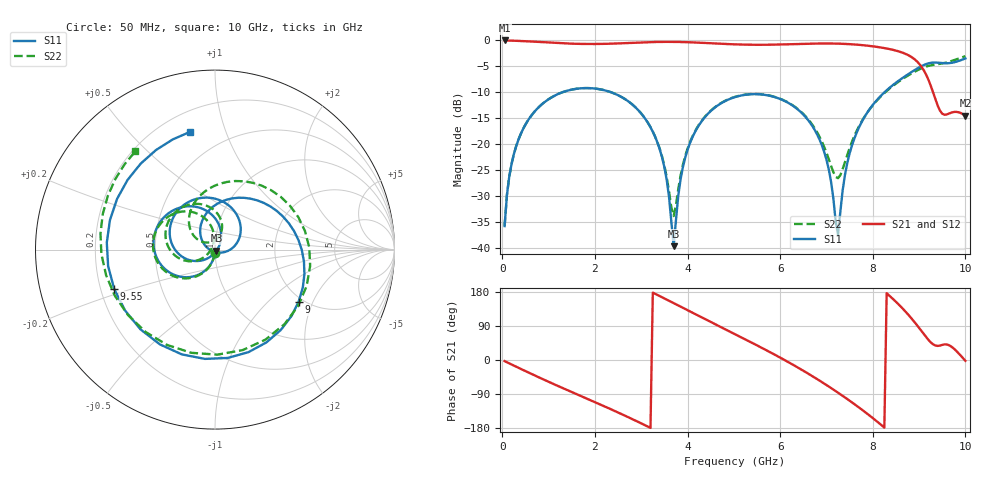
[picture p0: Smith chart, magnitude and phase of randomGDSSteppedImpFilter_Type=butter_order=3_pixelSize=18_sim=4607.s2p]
! freq	dB(S11)	phase(S11)	dB(S12)	phase(S12)
!  dB(S21)	phase(S21)	dB(S22)	phase(S22)
!S-par simulation data
#  GHz  S  DB  R 50
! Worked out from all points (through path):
!   200 points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, 50 MHz to 10 GHz, reference 50 ohm
!   highest |S21| = 0.00 dB at 50 MHz (marker M1); lowest = -14.5 dB at 10 GHz (marker M2)
!   lowest |S11| = -39.7 dB at 3.7 GHz (marker M3), VSWR 1.02, Z = 50.8 - j0.649 ohm
!   |S11| at or under -10 dB: start of sweep to 1.295 GHz; 2.352 GHz to 8.252 GHz (5.9 GHz wide, 111 % of centre)
!   |S22| runs from -35.8 to -3.0 dB; largest |S21 - S12| = 0
!   S11 on the Smith chart (normalised r, x): 50 MHz: 1.00, -0.03; 9 GHz: 1.89, -1.57; 9.55 GHz: 0.26, -0.18; 10 GHz: 0.32, +0.76
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0.05  -35.80 -92.9  -0.00 -3.0  -0.00 -3.0  -35.80 -92.7
0.2  -23.82 -102.3  -0.04 -11.9  -0.04 -11.9  -23.82 -101.7
0.5  -16.22 -120.6  -0.15 -29.3  -0.15 -29.3  -16.22 -119.2
1.75  -9.20 168.8  -0.68 -97.9  -0.68 -97.9  -9.20 174.5
2.75  -11.94 111.6  -0.48 -152.6  -0.48 -152.6  -11.93 123.4
3.4  -20.99 67.3  -0.28 168.7  -0.28 168.7  -20.89 94.9
3.7  -39.67 -37.9  -0.28 150.1  -0.28 150.1  -33.86 157.8
3.85  -26.76 -122.3  -0.30 140.7  -0.30 140.7  -26.06 -148.3
4.1  -18.78 -146.4  -0.37 125.1  -0.37 125.1  -18.62 -148.9
5.05  -10.85 148.4  -0.76 66.5  -0.76 66.5  -10.81 163.3
5.95  -11.12 85.7  -0.79 9.7  -0.79 9.7  -11.07 114.2
6.7  -16.57 24.8  -0.61 -43.0  -0.61 -43.0  -16.32 75.7
7.05  -24.86 -13.2  -0.59 -70.0  -0.59 -70.0  -22.89 74.6
7.25  -37.44 -120.9  -0.62 -86.2  -0.62 -86.2  -26.56 113.5
7.4  -25.89 162.6  -0.67 -98.8  -0.67 -98.8  -23.42 144.0
7.6  -18.96 135.6  -0.77 -116.1  -0.77 -116.1  -18.47 149.3
8.35  -9.22 55.1  -1.64 170.8  -1.64 170.8  -9.37 96.0
8.75  -6.60 6.6  -2.77 121.9  -2.77 121.9  -6.83 46.5
9  -5.21 -32.0  -4.48 84.7  -4.48 84.7  -5.59 1.3
9.3  -4.27 -95.3  -9.94 41.6  -9.94 41.6  -4.72 -74.7
9.55  -4.39 -158.6  -14.33 41.2  -14.33 41.2  -4.34 -143.0
10  -3.47 101.9  -14.53 -2.1  -14.53 -2.1  -3.04 129.0
